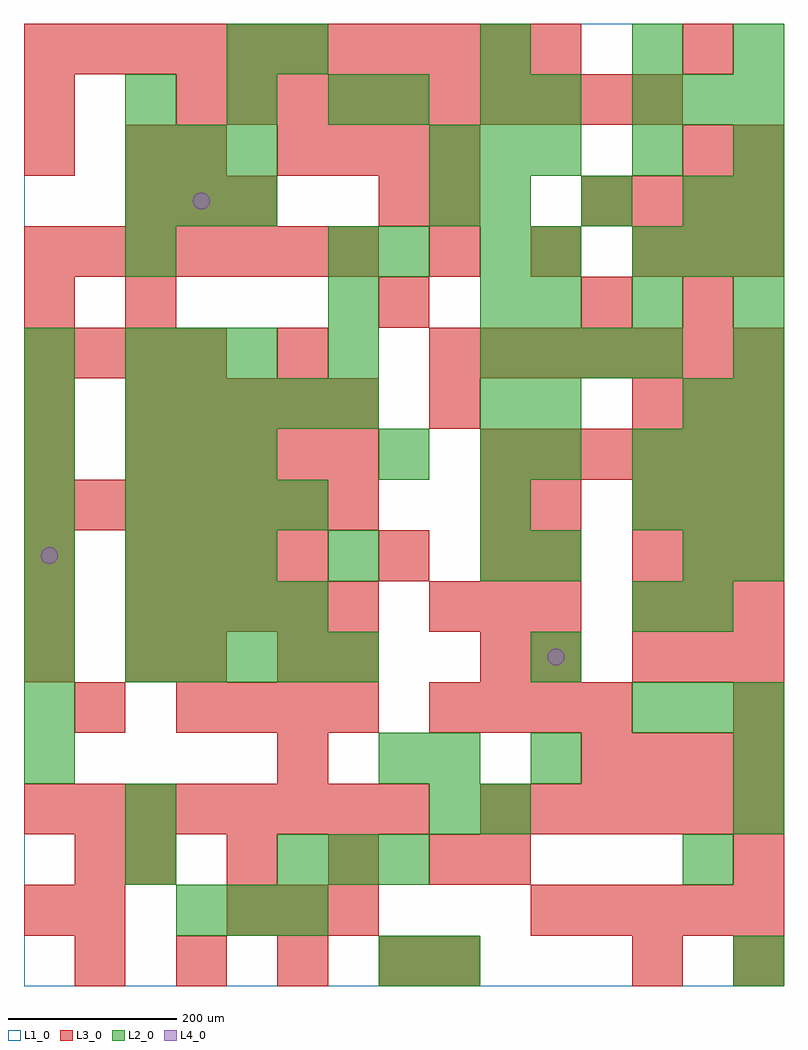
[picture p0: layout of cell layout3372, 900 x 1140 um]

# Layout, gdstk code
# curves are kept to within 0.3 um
import gdstk
lib = gdstk.Library(unit=1e-6, precision=1e-09)
def R(c, l, rs):  # rectangles x0, y0, x1, y1
    for r in rs: c.add(gdstk.rectangle(r[:2], r[2:], *l))
def A(c, l, x, y, w, h, nx, ny, dx, dy):  # array of equal rectangles
    R(c, l, [(x+i*dx, y+j*dy, x+i*dx+w, y+j*dy+h) for i in range(nx) for j in range(ny)])
def P(c, l, *ps):  # polygons
    for p in ps: c.add(gdstk.Polygon(p, *l))
L1_0 = (1, 0)
L2_0 = (2, 0)
L3_0 = (3, 0)
L4_0 = (4, 0)

layout3372 = lib.new_cell('layout3372')
R(layout3372, L1_0, [(0,0,900,1140)])
A(layout3372, L2_0, 180, 60, 60, 60, 3, 1, 60, 0)
A(layout3372, L2_0, 300, 120, 60, 60, 3, 1, 60, 0)
A(layout3372, L2_0, 0, 240, 60, 60, 1, 9, 0, 60)
A(layout3372, L2_0, 600, 240, 60, 60, 1, 4, 0, 120)
A(layout3372, L2_0, 720, 300, 60, 60, 3, 2, 60, 240)
A(layout3372, L2_0, 120, 360, 60, 60, 5, 2, 60, 300)
A(layout3372, L2_0, 120, 420, 60, 60, 4, 2, 60, 120)
A(layout3372, L2_0, 120, 480, 60, 60, 3, 3, 60, 120)
A(layout3372, L2_0, 540, 480, 60, 60, 1, 4, 0, 60)
A(layout3372, L2_0, 720, 600, 60, 60, 3, 2, 60, 240)
A(layout3372, L2_0, 600, 660, 60, 60, 1, 3, 0, 180)
A(layout3372, L2_0, 360, 720, 60, 60, 1, 3, 0, 60)
A(layout3372, L2_0, 540, 720, 60, 60, 4, 1, 60, 0)
A(layout3372, L2_0, 600, 780, 60, 60, 3, 1, 120, 0)
A(layout3372, L2_0, 120, 900, 60, 60, 3, 2, 60, 60)
A(layout3372, L2_0, 540, 900, 60, 60, 3, 1, 120, 0)
A(layout3372, L2_0, 480, 960, 60, 60, 3, 1, 60, 0)
A(layout3372, L2_0, 120, 1020, 60, 60, 3, 1, 120, 0)
A(layout3372, L2_0, 720, 1020, 60, 60, 3, 1, 60, 0)
R(layout3372, L2_0, [(420,0,480,60), (480,0,540,60), (840,0,900,60), (120,120,180,180), (780,120,840,180), (120,180,180,240), (480,180,540,240), (540,180,600,240), (840,180,900,240), (420,240,480,300), (480,240,540,300), (840,240,900,300), (720,420,780,480), (780,420,840,480), (360,480,420,540), (780,480,840,540), (840,480,900,540), (420,600,480,660), (780,660,840,720), (840,660,900,720), (840,720,900,780), (540,780,600,840), (120,840,180,900), (420,840,480,900), (540,840,600,900), (480,900,540,960), (840,900,900,960), (720,960,780,1020), (840,960,900,1020), (420,1020,480,1080), (540,1020,600,1080), (240,1080,300,1140), (300,1080,360,1140), (540,1080,600,1140), (720,1080,780,1140), (840,1080,900,1140)])
A(layout3372, L3_0, 60, 0, 60, 60, 4, 1, 120, 0)
A(layout3372, L3_0, 240, 60, 60, 60, 3, 1, 60, 0)
A(layout3372, L3_0, 600, 60, 60, 60, 5, 1, 60, 0)
A(layout3372, L3_0, 120, 120, 60, 60, 4, 1, 120, 0)
A(layout3372, L3_0, 0, 180, 60, 60, 8, 1, 60, 0)
A(layout3372, L3_0, 540, 180, 60, 60, 6, 2, 60, 420)
A(layout3372, L3_0, 660, 240, 60, 60, 4, 2, 60, 660)
A(layout3372, L3_0, 180, 300, 60, 60, 4, 1, 60, 0)
A(layout3372, L3_0, 480, 300, 60, 60, 4, 1, 60, 0)
A(layout3372, L3_0, 0, 360, 60, 60, 1, 3, 0, 60)
A(layout3372, L3_0, 720, 360, 60, 60, 3, 4, 60, 60)
A(layout3372, L3_0, 120, 420, 60, 60, 5, 2, 60, 180)
A(layout3372, L3_0, 480, 420, 60, 60, 3, 1, 60, 0)
A(layout3372, L3_0, 120, 480, 60, 60, 4, 1, 60, 0)
A(layout3372, L3_0, 0, 540, 60, 60, 7, 2, 60, 300)
A(layout3372, L3_0, 120, 660, 60, 60, 5, 1, 60, 0)
A(layout3372, L3_0, 720, 660, 60, 60, 3, 1, 60, 0)
A(layout3372, L3_0, 0, 720, 60, 60, 4, 1, 60, 0)
A(layout3372, L3_0, 480, 720, 60, 60, 7, 1, 60, 0)
A(layout3372, L3_0, 480, 840, 60, 60, 3, 1, 120, 0)
A(layout3372, L3_0, 780, 840, 60, 60, 1, 3, 0, 120)
A(layout3372, L3_0, 120, 900, 60, 60, 3, 1, 60, 0)
A(layout3372, L3_0, 300, 960, 60, 60, 4, 1, 60, 0)
A(layout3372, L3_0, 180, 1020, 60, 60, 10, 1, 60, 0)
A(layout3372, L3_0, 0, 1080, 60, 60, 11, 1, 60, 0)
R(layout3372, L3_0, [(480,0,540,60), (720,0,780,60), (840,0,900,60), (0,60,60,120), (60,60,120,120), (60,120,120,180), (540,120,600,180), (840,120,900,180), (300,240,360,300), (60,300,120,360), (840,300,900,360), (120,360,180,420), (180,360,240,420), (300,360,360,420), (360,360,420,420), (540,360,600,420), (600,360,660,420), (420,480,480,540), (540,480,600,540), (600,480,660,540), (540,540,600,600), (600,540,660,600), (0,600,60,660), (0,660,60,720), (480,660,540,720), (300,720,360,780), (0,780,60,840), (120,780,180,840), (420,780,480,840), (660,780,720,840), (780,780,840,840), (840,840,900,900), (420,900,480,960), (480,900,540,960), (0,960,60,1020), (120,960,180,1020), (180,960,240,1020), (840,960,900,1020), (0,1020,60,1080)])
P(layout3372, L4_0, [(40,510),(39.239,513.827),(37.071,517.071),(33.827,519.239),(30,520),(26.173,519.239),(22.929,517.071),(20.761,513.827),(20,510),(20.761,506.173),(22.929,502.929),(26.173,500.761),(30,500),(33.827,500.761),(37.071,502.929),(39.239,506.173)],
  [(220,930),(219.239,933.827),(217.071,937.071),(213.827,939.239),(210,940),(206.173,939.239),(202.929,937.071),(200.761,933.827),(200,930),(200.761,926.173),(202.929,922.929),(206.173,920.761),(210,920),(213.827,920.761),(217.071,922.929),(219.239,926.173)],
  [(640,390),(639.239,393.827),(637.071,397.071),(633.827,399.239),(630,400),(626.173,399.239),(622.929,397.071),(620.761,393.827),(620,390),(620.761,386.173),(622.929,382.929),(626.173,380.761),(630,380),(633.827,380.761),(637.071,382.929),(639.239,386.173)])

lib.write_gds('layout3372.gds')
